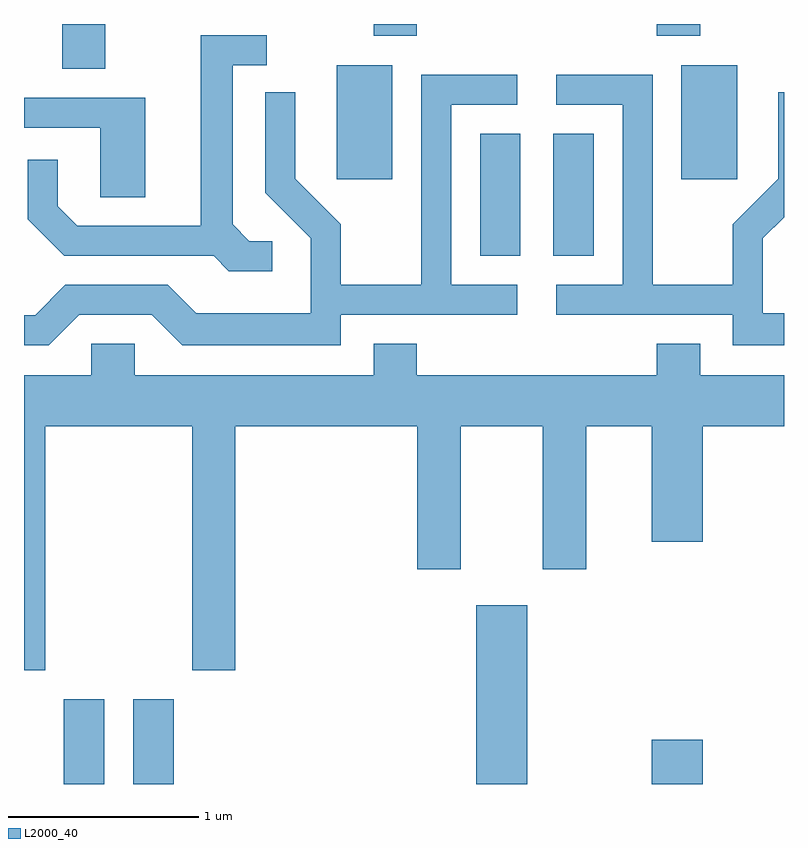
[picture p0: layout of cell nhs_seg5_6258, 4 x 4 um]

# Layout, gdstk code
import gdstk
lib = gdstk.Library(unit=1e-6, precision=1e-09)
def R(c, l, rs):  # rectangles x0, y0, x1, y1
    for r in rs: c.add(gdstk.rectangle(r[:2], r[2:], *l))
def P(c, l, *ps):  # polygons
    for p in ps: c.add(gdstk.Polygon(p, *l))
L2000_40 = (2000, 40)

nhs_seg5_6258 = lib.new_cell('nhs_seg5_6258')
R(nhs_seg5_6258, L2000_40, [(371.821,1406.072,372.034,1406.519), (372.186,1406.072,372.399,1406.519), (373.991,1406.072,374.259,1407.014), (374.916,1406.072,375.184,1406.304), (374.011,1408.851,374.224,1409.494), (374.396,1408.851,374.609,1409.494), (373.256,1409.256,373.549,1409.854), (375.071,1409.256,375.364,1409.854), (371.811,1409.836,372.039,1410.072), (373.451,1410.011,373.679,1410.072), (374.941,1410.011,375.169,1410.072)])
P(nhs_seg5_6258, L2000_40, [(372.918,1408.929),(372.797,1408.929),(372.709,1409.017),(372.709,1409.856),(372.888,1409.856),(372.888,1410.014),(372.541,1410.014),(372.541,1409.009),(371.892,1409.009),(371.789,1409.112),(371.789,1409.358),(371.631,1409.358),(371.631,1409.044),(371.824,1408.851),(372.609,1408.851),(372.689,1408.771),(372.918,1408.771)],
  [(371.902,1408.541),(372.284,1408.541),(372.444,1408.381),(373.279,1408.381),(373.279,1408.541),(374.208,1408.541),(374.208,1408.699),(373.859,1408.699),(373.859,1409.646),(374.208,1409.646),(374.208,1409.804),(373.701,1409.804),(373.701,1408.699),(373.279,1408.699),(373.279,1409.017),(373.039,1409.257),(373.039,1409.713),(372.881,1409.713),(372.881,1409.184),(373.121,1408.944),(373.121,1408.549),(372.517,1408.549),(372.367,1408.699),(371.829,1408.699),(371.669,1408.539),(371.611,1408.539),(371.611,1408.381),(371.742,1408.381)],
  [(375.611,1408.549),(375.499,1408.549),(375.499,1408.944),(375.611,1409.056),(375.611,1409.713),(375.581,1409.713),(375.581,1409.257),(375.341,1409.017),(375.341,1408.699),(374.919,1408.699),(374.919,1409.804),(374.413,1409.804),(374.413,1409.646),(374.761,1409.646),(374.761,1408.699),(374.413,1408.699),(374.413,1408.541),(375.341,1408.541),(375.341,1408.381),(375.611,1408.381)],
  [(372.249,1409.684),(371.611,1409.684),(371.611,1409.526),(372.011,1409.526),(372.011,1409.161),(372.249,1409.161)],
  [(372.496,1406.671),(372.724,1406.671),(372.724,1407.956),(373.681,1407.956),(373.681,1407.201),(373.909,1407.201),(373.909,1407.956),(374.341,1407.956),(374.341,1407.201),(374.569,1407.201),(374.569,1407.956),(374.916,1407.956),(374.916,1407.346),(375.184,1407.346),(375.184,1407.956),(375.611,1407.956),(375.611,1408.224),(375.169,1408.224),(375.169,1408.389),(374.941,1408.389),(374.941,1408.224),(373.679,1408.224),(373.679,1408.389),(373.451,1408.389),(373.451,1408.224),(372.194,1408.224),(372.194,1408.389),(371.966,1408.389),(371.966,1408.224),(371.611,1408.224),(371.611,1406.671),(371.724,1406.671),(371.724,1407.956),(372.496,1407.956)])

lib.write_gds('nhs_seg5_6258.gds')
